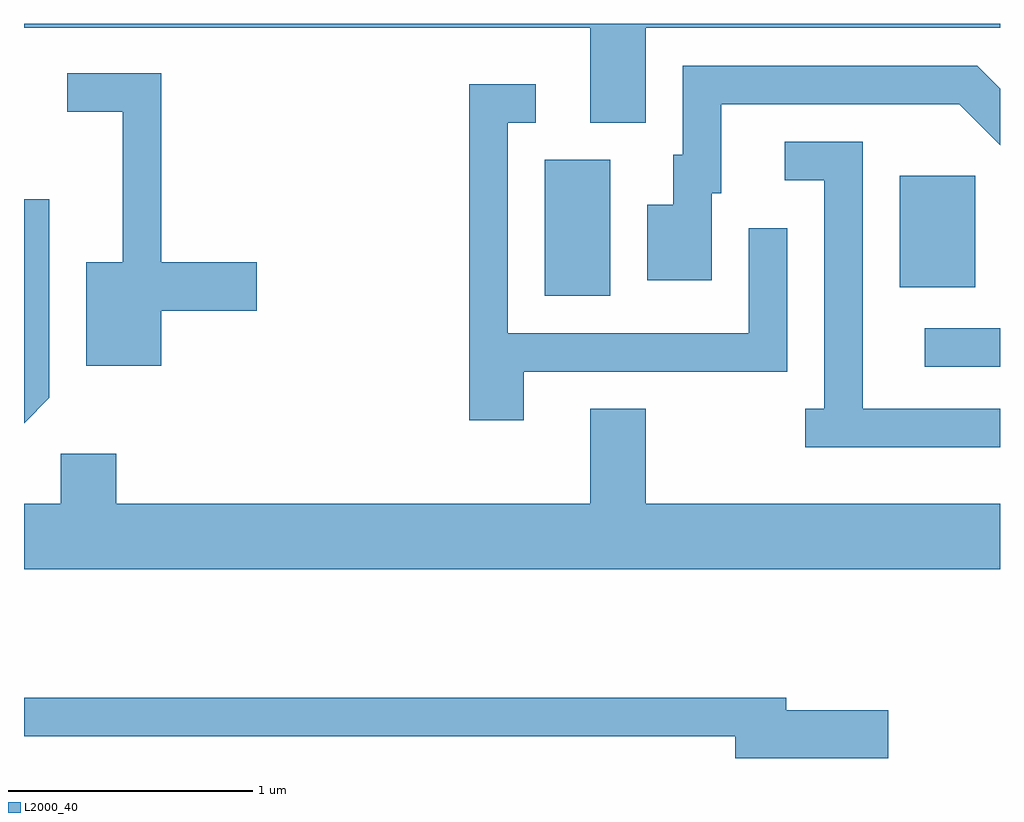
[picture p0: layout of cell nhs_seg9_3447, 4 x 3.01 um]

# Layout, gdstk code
import gdstk
lib = gdstk.Library(unit=1e-6, precision=1e-09)
def R(c, l, rs):  # rectangles x0, y0, x1, y1
    for r in rs: c.add(gdstk.rectangle(r[:2], r[2:], *l))
def P(c, l, *ps):  # polygons
    for p in ps: c.add(gdstk.Polygon(p, *l))
L2000_40 = (2000, 40)

nhs_seg9_3447 = lib.new_cell('nhs_seg9_3447')
R(nhs_seg9_3447, L2000_40, [(289.303,2057.026,289.611,2057.184), (287.746,2057.316,288.014,2057.874), (289.201,2057.351,289.509,2057.809)])
P(nhs_seg9_3447, L2000_40, [(288.159,2058.416),(289.611,2058.416),(289.611,2058.432),(285.611,2058.432),(285.611,2058.416),(287.931,2058.416),(287.931,2058.026),(288.159,2058.026)],
  [(288.429,2057.736),(288.469,2057.736),(288.469,2058.101),(289.444,2058.101),(289.611,2057.934),(289.611,2058.165),(289.517,2058.259),(288.311,2058.259),(288.311,2057.894),(288.271,2057.894),(288.271,2057.689),(288.166,2057.689),(288.166,2057.381),(288.429,2057.381)],
  [(286.174,2057.256),(286.564,2057.256),(286.564,2057.454),(286.174,2057.454),(286.174,2058.229),(285.788,2058.229),(285.788,2058.071),(286.016,2058.071),(286.016,2057.454),(285.866,2057.454),(285.866,2057.031),(286.174,2057.031)],
  [(287.659,2057.006),(288.739,2057.006),(288.739,2057.593),(288.581,2057.593),(288.581,2057.164),(287.594,2057.164),(287.594,2058.026),(287.708,2058.026),(287.708,2058.184),(287.436,2058.184),(287.436,2056.806),(287.659,2056.806)],
  [(289.611,2056.854),(289.049,2056.854),(289.049,2057.949),(288.728,2057.949),(288.728,2057.791),(288.891,2057.791),(288.891,2056.854),(288.813,2056.854),(288.813,2056.696),(289.611,2056.696)],
  [(285.714,2056.899),(285.714,2057.713),(285.611,2057.713),(285.611,2056.795)],
  [(289.611,2056.464),(288.159,2056.464),(288.159,2056.854),(287.931,2056.854),(287.931,2056.464),(285.989,2056.464),(285.989,2056.669),(285.761,2056.669),(285.761,2056.464),(285.611,2056.464),(285.611,2056.196),(289.611,2056.196)],
  [(289.154,2055.619),(288.734,2055.619),(288.734,2055.669),(285.611,2055.669),(285.611,2055.511),(288.526,2055.511),(288.526,2055.421),(289.154,2055.421)])

lib.write_gds('nhs_seg9_3447.gds')
